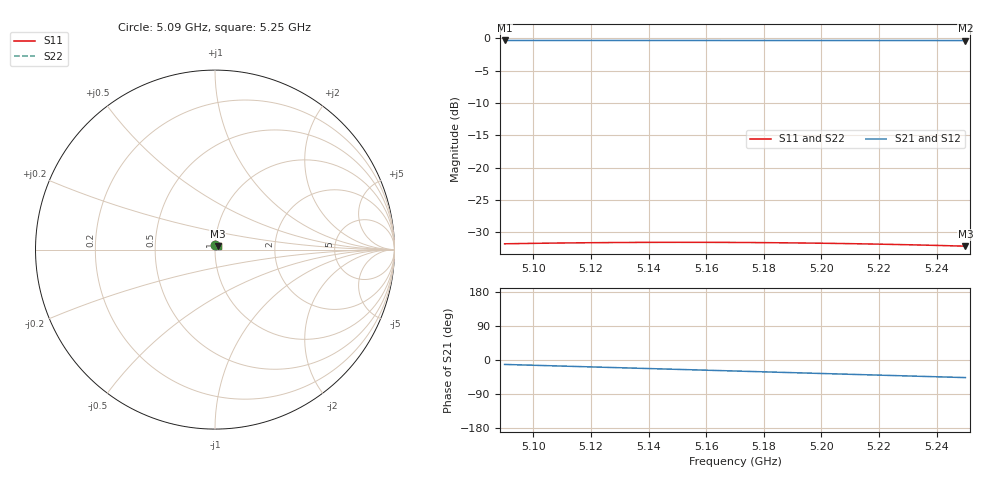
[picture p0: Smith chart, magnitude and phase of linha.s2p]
! Touchstone file exported from HFSS 2024.2.0
!  File:  D:/dev/EMBRAER/P1H/R03_Estudo/ZYF255DA/cupom_120/Linha_ZYF255DA_120.aedt
!  Generated:  10:23:08 PM Nov  6, 2026
!  Design:  Linha
!  Project:  Linha_ZYF255DA_120
!  Setup:  Perda
!  Solution:  Banda
# GHz S RI R 50.000000
! Terminal data exported
! Port[1] = E
! Port[2] = S
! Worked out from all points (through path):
!   17 points, 5.09 GHz to 5.25 GHz, reference 50 ohm
!   highest |S21| = -0.33 dB at 5.09 GHz (marker M1); lowest = -0.3 dB at 5.25 GHz (marker M2)
!   group delay of S21, straight-line fit = 603 ps
!   lowest |S11| = -32.1 dB at 5.25 GHz (marker M3), VSWR 1.05, Z = 51.4 + j2.06 ohm
!   |S11| at or under -10 dB: start of sweep to end of sweep
!   |S22| runs from -32.1 to -31.5 dB; largest |S21 - S12| = 1e-15
5.09  0.00188 0.0257  0.9425 -0.1953  0.9425 -0.1953  0.000939 0.0259
! Gamma 0 0 0 0
! Port Impedance 50 0 50 0
5.1  0.0028 0.0258  0.9343 -0.2308  0.9343 -0.2308  0.00188 0.0261
5.11  0.00372 0.0259  0.9248 -0.266  0.9248 -0.266  0.00283 0.0262
5.12  0.00465 0.0259  0.914 -0.3008  0.914 -0.3008  0.00379 0.0262
5.13  0.00557 0.0258  0.9019 -0.3352  0.9019 -0.3352  0.00474 0.0261
5.14  0.00649 0.0256  0.8885 -0.369  0.8885 -0.369  0.00568 0.026
5.15  0.00739 0.0254  0.8738 -0.4024  0.8738 -0.4024  0.00661 0.0258
5.16  0.00827 0.0251  0.8578 -0.4351  0.8578 -0.4351  0.00752 0.0255
5.17  0.00912 0.0248  0.8407 -0.4673  0.8407 -0.4673  0.00841 0.0252
5.18  0.00995 0.0244  0.8223 -0.4987  0.8223 -0.4987  0.00927 0.0248
5.19  0.0107 0.0239  0.8028 -0.5295  0.8028 -0.5295  0.0101 0.0243
5.2  0.0115 0.0234  0.7821 -0.5594  0.7821 -0.5594  0.0109 0.0238
5.21  0.0122 0.0228  0.7603 -0.5886  0.7603 -0.5886  0.0116 0.0233
5.22  0.0129 0.0222  0.7374 -0.6169  0.7374 -0.6169  0.0123 0.0226
5.23  0.0135 0.0215  0.7134 -0.6444  0.7134 -0.6444  0.013 0.0219
5.24  0.0141 0.0207  0.6884 -0.6709  0.6884 -0.6709  0.0136 0.0212
5.25  0.0146 0.02  0.6625 -0.6964  0.6625 -0.6964  0.0141 0.0205
